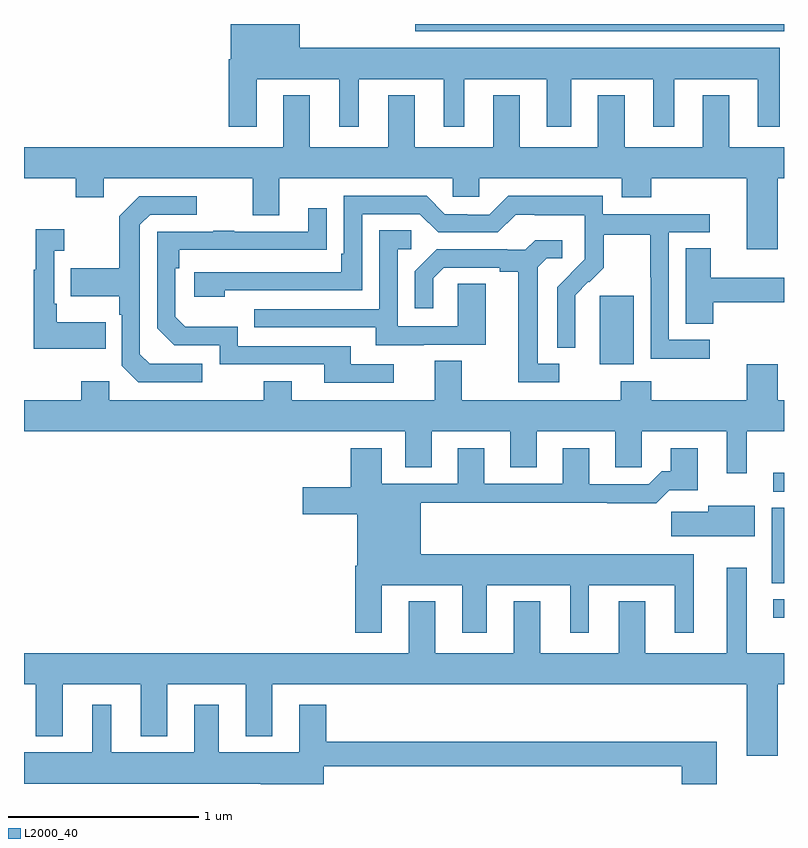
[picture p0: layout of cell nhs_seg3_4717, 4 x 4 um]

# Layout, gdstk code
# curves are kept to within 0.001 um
import gdstk
lib = gdstk.Library(unit=1e-6, precision=1e-09)
def R(c, l, rs):  # rectangles x0, y0, x1, y1
    for r in rs: c.add(gdstk.rectangle(r[:2], r[2:], *l))
def P(c, l, *ps):  # polygons
    for p in ps: c.add(gdstk.Polygon(p, *l))
L2000_40 = (2000, 40)

nhs_seg3_4717 = lib.new_cell('nhs_seg3_4717')
R(nhs_seg3_4717, L2000_40, [(368.943,693.276,369,693.372), (368.936,693.457,369,693.854), (368.943,693.939,369,694.038), (368.03,694.61,368.209,694.971), (367.059,696.362,369,696.4)])
P(nhs_seg3_4717, L2000_40, [(366.226,696.11),(366.659,696.11),(366.659,695.859),(366.763,695.859),(366.763,696.11),(367.208,696.11),(367.208,695.859),(367.318,695.859),(367.318,696.11),(367.751,696.11),(367.751,695.859),(367.879,695.859),(367.879,696.11),(368.312,696.11),(368.312,695.859),(368.422,695.859),(368.422,696.11),(368.861,696.11),(368.861,695.859),(368.977,695.859),(368.977,696.274),(366.451,696.274),(366.451,696.4),(366.089,696.4),(366.089,696.214),(366.077,696.214),(366.077,695.859),(366.226,695.859)],
  [(368.968,695.588),(369,695.588),(369,695.752),(368.713,695.752),(368.713,696.025),(368.573,696.025),(368.573,695.752),(368.161,695.752),(368.161,696.025),(368.021,696.025),(368.021,695.752),(367.609,695.752),(367.609,696.025),(367.469,696.025),(367.469,695.752),(367.057,695.752),(367.057,696.025),(366.917,696.025),(366.917,695.752),(366.505,695.752),(366.505,696.025),(366.365,696.025),(366.365,695.752),(365,695.752),(365,695.588),(365.272,695.588),(365.272,695.489),(365.419,695.489),(365.419,695.588),(366.203,695.588),(366.203,695.394),(366.343,695.394),(366.343,695.588),(367.257,695.588),(367.257,695.49),(367.395,695.49),(367.395,695.588),(368.147,695.588),(368.147,695.489),(368.3,695.489),(368.3,695.588),(368.804,695.588),(368.804,695.214),(368.968,695.214)],
  [(368.608,694.737),(368.394,694.737),(368.394,695.304),(368.608,695.304),(368.608,695.4),(368.046,695.4),(368.046,695.497),(367.549,695.497),(367.449,695.397),(367.334,695.397),(367.334,695.4),(367.215,695.4),(367.119,695.496),(366.684,695.496),(366.684,695.191),(366.671,695.191),(366.671,695.094),(365.895,695.094),(365.895,694.964),(366.056,694.964),(366.056,694.998),(366.78,694.998),(366.78,695.4),(367.083,695.4),(367.179,695.304),(367.494,695.304),(367.587,695.397),(367.687,695.397),(367.687,695.393),(367.95,695.393),(367.95,695.259),(367.952,695.259),(367.952,695.162),(367.806,695.014),(367.806,694.696),(367.902,694.696),(367.901,694.973),(367.971,695.043),(367.974,695.04),(368.051,695.117),(368.051,695.292),(368.296,695.292),(368.296,695.068),(368.298,695.068),(368.298,694.639),(368.608,694.639)],
  [(365.938,694.611),(365.661,694.611),(365.61,694.662),(365.61,695.343),(365.664,695.397),(365.908,695.397),(365.908,695.493),(365.607,695.493),(365.502,695.387),(365.502,695.115),(365.245,695.115),(365.245,694.967),(365.502,694.967),(365.502,694.871),(365.514,694.871),(365.514,694.602),(365.601,694.515),(365.938,694.515)],
  [(366.946,694.608),(366.721,694.608),(366.721,694.704),(366.126,694.704),(366.126,694.807),(365.849,694.807),(365.796,694.86),(365.796,695.114),(365.816,695.114),(365.816,695.211),(366.593,695.212),(366.593,695.431),(366.497,695.431),(366.497,695.307),(366.107,695.307),(366.107,695.312),(365.995,695.312),(365.995,695.307),(365.7,695.307),(365.7,694.8),(365.79,694.71),(366.03,694.71),(366.03,694.608),(366.581,694.608),(366.581,694.512),(366.946,694.512)],
  [(365.429,694.831),(365.173,694.831),(365.173,694.927),(365.16,694.927),(365.16,695.207),(365.212,695.207),(365.212,695.32),(365.063,695.32),(365.063,695.107),(365.052,695.107),(365.052,694.691),(365.429,694.691)],
  [(367.105,694.713),(367.429,694.713),(367.429,695.033),(367.284,695.033),(367.284,694.809),(366.966,694.809),(366.966,695.214),(367.039,695.214),(367.039,695.315),(366.87,695.315),(366.87,694.899),(366.211,694.899),(366.211,694.803),(366.851,694.803),(366.851,694.709),(367.105,694.709)],
  [(367.816,694.611),(367.705,694.611),(367.705,695.119),(367.752,695.166),(367.834,695.166),(367.834,695.263),(367.69,695.263),(367.638,695.211),(367.544,695.211),(367.544,695.214),(367.172,695.214),(367.056,695.098),(367.056,694.905),(367.153,694.905),(367.153,695.061),(367.21,695.118),(367.505,695.118),(367.505,695.096),(367.601,695.096),(367.601,694.515),(367.816,694.515)],
  [(368.627,694.936),(369,694.936),(369,695.065),(368.614,695.065),(368.614,695.219),(368.483,695.219),(368.483,694.822),(368.627,694.822)],
  [(369,694.42),(368.968,694.42),(368.968,694.609),(368.804,694.609),(368.804,694.42),(368.3,694.42),(368.3,694.519),(368.14,694.519),(368.14,694.42),(367.303,694.42),(367.303,694.628),(367.163,694.628),(367.163,694.42),(366.409,694.42),(366.409,694.519),(366.262,694.519),(366.262,694.42),(365.448,694.42),(365.448,694.519),(365.302,694.519),(365.302,694.42),(365,694.42),(365,694.256),(367.007,694.256),(367.007,694.066),(367.147,694.066),(367.147,694.256),(367.559,694.256),(367.559,694.066),(367.699,694.066),(367.699,694.256),(368.111,694.256),(368.111,694.066),(368.25,694.066),(368.25,694.256),(368.699,694.256),(368.699,694.035),(368.803,694.035),(368.803,694.256),(369,694.256)],
  [(366.883,693.446),(367.307,693.446),(367.307,693.195),(367.435,693.195),(367.435,693.446),(367.874,693.446),(367.874,693.195),(367.972,693.195),(367.972,693.446),(368.426,693.446),(368.426,693.195),(368.524,693.195),(368.524,693.61),(367.087,693.61),(367.087,693.88),(368.071,693.88),(368.071,693.878),(368.327,693.878),(368.396,693.947),(368.545,693.947),(368.545,694.168),(368.405,694.168),(368.405,694.045),(368.356,694.045),(368.289,693.978),(367.975,693.978),(367.975,694.168),(367.835,694.168),(367.835,693.981),(367.423,693.981),(367.423,694.168),(367.283,694.168),(367.283,693.981),(366.883,693.981),(366.883,694.168),(366.719,694.168),(366.719,693.963),(366.468,693.963),(366.468,693.821),(366.755,693.821),(366.755,693.55),(366.743,693.55),(366.743,693.195),(366.883,693.195)],
  [(368.845,693.865),(368.6,693.865),(368.6,693.833),(368.406,693.833),(368.406,693.704),(368.845,693.704)],
  [(368.968,692.924),(369,692.924),(369,693.088),(368.803,693.088),(368.803,693.538),(368.699,693.538),(368.699,693.088),(368.269,693.088),(368.269,693.361),(368.129,693.361),(368.129,693.088),(367.717,693.088),(367.717,693.361),(367.577,693.361),(367.577,693.088),(367.165,693.088),(367.165,693.361),(367.025,693.361),(367.025,693.088),(365,693.088),(365,692.924),(365.063,692.924),(365.063,692.651),(365.203,692.651),(365.203,692.924),(365.615,692.924),(365.615,692.651),(365.755,692.651),(365.755,692.924),(366.167,692.924),(366.167,692.651),(366.307,692.651),(366.307,692.924),(368.804,692.924),(368.804,692.55),(368.968,692.55)],
  [(366.577,692.494),(368.462,692.494),(368.462,692.4),(368.645,692.4),(368.645,692.623),(366.59,692.623),(366.59,692.818),(366.449,692.818),(366.449,692.566),(366.025,692.566),(366.025,692.818),(365.897,692.818),(365.897,692.566),(365.458,692.566),(365.458,692.818),(365.36,692.818),(365.36,692.566),(365,692.566),(365,692.402),(366.245,692.402),(366.245,692.4),(366.577,692.4)])

lib.write_gds('nhs_seg3_4717.gds')
